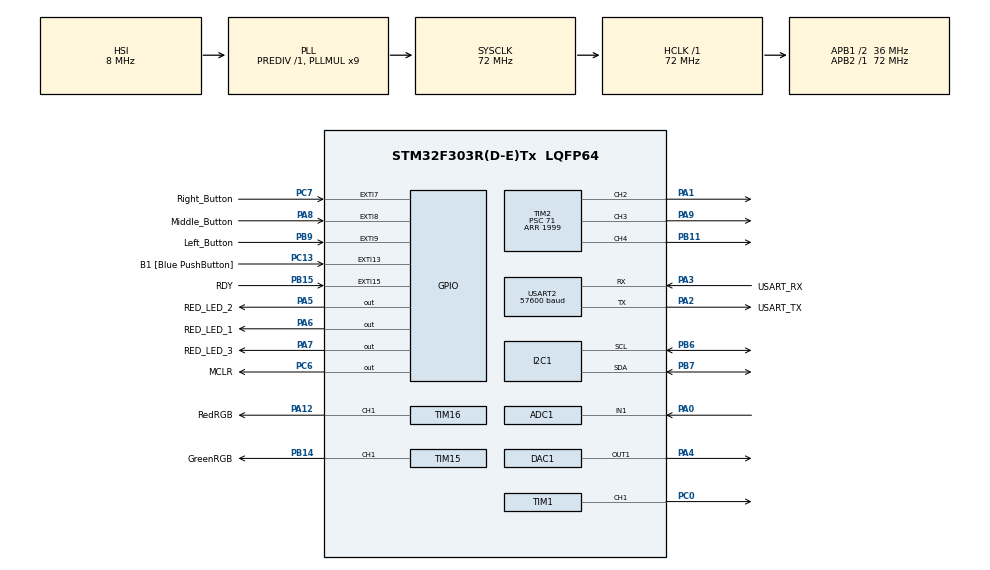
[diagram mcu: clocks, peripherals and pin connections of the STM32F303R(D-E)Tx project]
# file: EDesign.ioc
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ADC1.Channel-0\#ChannelRegularConversion=ADC_CHANNEL_1
ADC1.NbrOfConversionFlag=1
ADC1.Offset-0\#ChannelRegularConversion=0
ADC1.OffsetNumber-0\#ChannelRegularConversion=ADC_OFFSET_NONE
ADC1.Rank-0\#ChannelRegularConversion=1
ADC1.SamplingTime-0\#ChannelRegularConversion=ADC_SAMPLETIME_1CYCLE_5
ADC1.SamplingTimeOPAMP-0\#ChannelRegularConversion=ADC_SAMPLETIME_61CYCLES_5
ADC1.master=1
I2C1.Speed=10
I2C1.Timing=0x200009FE
Mcu.Family=STM32F3
Mcu.Name=STM32F303R(D-E)Tx
Mcu.Package=LQFP64
NVIC.EXTI15_10_IRQn=true\:0\:0\:false\:false\:true\:true\:true\:true
NVIC.EXTI9_5_IRQn=true\:0\:0\:false\:false\:true\:true\:true\:true
NVIC.PriorityGroup=NVIC_PRIORITYGROUP_0
NVIC.USART2_IRQn=true\:0\:0\:false\:false\:true\:true\:true\:true
PA0.Mode=IN1-Single-Ended
PA0.Signal=ADC1_IN1
PA1.Signal=S_TIM2_CH2
PA12.GPIO_Label=RedRGB
PA12.Signal=S_TIM16_CH1
PA13.GPIO_Label=TMS
PA13.Mode=Serial_Wire
PA13.Signal=SYS_JTMS-SWDIO
PA14.GPIO_Label=TCK
PA14.Mode=Serial_Wire
PA14.Signal=SYS_JTCK-SWCLK
PA2.GPIO_Label=USART_TX
PA2.GPIO_Mode=GPIO_MODE_AF_PP
PA2.GPIO_PuPd=GPIO_NOPULL
PA2.GPIO_Speed=GPIO_SPEED_FREQ_LOW
PA2.Mode=Asynchronous
PA2.Signal=USART2_TX
PA3.GPIO_Label=USART_RX
PA3.GPIO_Mode=GPIO_MODE_AF_PP
PA3.GPIO_PuPd=GPIO_NOPULL
PA3.GPIO_Speed=GPIO_SPEED_FREQ_LOW
PA3.Mode=Asynchronous
PA3.Signal=USART2_RX
PA4.Signal=COMP_DAC11_group
PA5.GPIO_Label=RED_LED_2
PA5.Signal=GPIO_Output
PA6.GPIO_Label=RED_LED_1
PA6.Signal=GPIO_Output
PA7.GPIO_Label=RED_LED_3
PA7.Signal=GPIO_Output
PA8.GPIO_Label=Middle_Button
PA8.GPIO_ModeDefaultEXTI=GPIO_MODE_IT_RISING_FALLING
PA8.GPIO_PuPd=GPIO_PULLUP
PA8.Signal=GPXTI8
PA9.Signal=S_TIM2_CH3
PB11.Signal=S_TIM2_CH4
PB14.GPIO_Label=GreenRGB
PB14.Signal=S_TIM15_CH1
PB15.GPIO_Label=RDY
PB15.GPIO_ModeDefaultEXTI=GPIO_MODE_IT_FALLING
PB15.Signal=GPXTI15
PB3.GPIO_Label=SWO
PB3.Signal=SYS_JTDO-TRACESWO
PB6.Mode=I2C
PB6.Signal=I2C1_SCL
PB7.Mode=I2C
PB7.Signal=I2C1_SDA
PB9.GPIO_Label=Left_Button
PB9.GPIO_ModeDefaultEXTI=GPIO_MODE_IT_RISING_FALLING
PB9.GPIO_PuPd=GPIO_PULLUP
PB9.Signal=GPXTI9
PC0.Signal=S_TIM1_CH1
PC13.GPIO_Label=B1 [Blue PushButton]
PC13.GPIO_ModeDefaultEXTI=GPIO_MODE_IT_FALLING
PC13.Signal=GPXTI13
PC14-OSC32_IN.Mode=LSE-External-Oscillator
PC14-OSC32_IN.Signal=RCC_OSC32_IN
PC15-OSC32_OUT.Mode=LSE-External-Oscillator
PC15-OSC32_OUT.Signal=RCC_OSC32_OUT
PC6.GPIO_Label=MCLR
PC6.Signal=GPIO_Output
PC7.GPIO_Label=Right_Button
PC7.GPIO_ModeDefaultEXTI=GPIO_MODE_IT_RISING_FALLING
PC7.GPIO_PuPd=GPIO_PULLUP
PC7.Signal=GPXTI7
PF0-OSC_IN.Mode=HSE-External-Clock-Source
PF0-OSC_IN.Signal=RCC_OSC_IN
PF1-OSC_OUT.Signal=RCC_OSC_OUT
ProjectManager.HeapSize=0x200
ProjectManager.StackSize=0x400
ProjectManager.TargetToolchain=STM32CubeIDE
RCC.AHBFreq_Value=72000000
RCC.APB1CLKDivider=RCC_HCLK_DIV2
RCC.APB1Freq_Value=36000000
RCC.APB1TimFreq_Value=72000000
RCC.APB2Freq_Value=72000000
RCC.APB2TimFreq_Value=72000000
RCC.CortexFreq_Value=72000000
RCC.HCLKFreq_Value=72000000
RCC.HSE_VALUE=8000000
RCC.HSI_VALUE=8000000
RCC.PLLM=8
RCC.PLLMUL=RCC_PLL_MUL9
RCC.PLLN=336
RCC.PLLP=RCC_PLLP_DIV4
RCC.PLLQ=7
RCC.RCC_PLLsource_Clock_Source_FROM_HSE=RCC_HSE_PREDIV_DIV2
RCC.SYSCLKFreq_VALUE=72000000
RCC.SYSCLKSourceVirtual=RCC_SYSCLKSOURCE_PLLCLK
RCC.USBFreq_Value=72000000
SH.COMP_DAC11_group.0=DAC1_OUT1,DAC_OUT1
SH.S_TIM15_CH1.0=TIM15_CH1,PWM Generation1 CH1
SH.S_TIM16_CH1.0=TIM16_CH1,PWM Generation1 CH1
SH.S_TIM1_CH1.0=TIM1_CH1,PWM Generation1 CH1
SH.S_TIM2_CH2.0=TIM2_CH2,PWM Generation2 CH2
SH.S_TIM2_CH3.0=TIM2_CH3,PWM Generation3 CH3
SH.S_TIM2_CH4.0=TIM2_CH4,PWM Generation4 CH4
TIM1.Channel-PWM\ Generation1\ CH1=TIM_CHANNEL_1
TIM1.Period=1999
TIM1.Prescaler=71
TIM15.Channel-PWM\ Generation1\ CH1=TIM_CHANNEL_1
TIM15.Period=1999
TIM15.Prescaler=71
TIM16.Channel=TIM_CHANNEL_1
TIM16.Period=1999
TIM16.Prescaler=71
TIM2.Channel-PWM\ Generation2\ CH2=TIM_CHANNEL_2
TIM2.Channel-PWM\ Generation3\ CH3=TIM_CHANNEL_3
TIM2.Channel-PWM\ Generation4\ CH4=TIM_CHANNEL_4
TIM2.Period=1999
TIM2.Prescaler=71
USART2.BaudRate=57600
USART2.Parity=PARITY_EVEN
USART2.StopBits=STOPBITS_2
USART2.VirtualMode-Asynchronous=VM_ASYNC
USART2.WordLength=WORDLENGTH_9B
VP_TIM15_VS_ClockSourceINT.Mode=Internal
VP_TIM16_VS_ClockSourceINT.Mode=Enable_Timer
VP_TIM2_VS_ClockSourceINT.Mode=Internal
VP_TIM4_VS_ClockSourceINT.Mode=Internal
board=NUCLEO-F303RE

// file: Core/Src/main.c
/* USER CODE BEGIN Header */
/**
  ******************************************************************************
  * @file           : main.c
  * @brief          : Main program body
  ******************************************************************************
  * @attention
  *
  * <h2><center>&copy; Copyright (c) 2023 STMicroelectronics.
  * All rights reserved.</center></h2>
  *
  * This software component is licensed by ST under BSD 3-Clause license,
  * the "License"; You may not use this file except in compliance with the
  * License. You may obtain a copy of the License at:
  *                        opensource.org/licenses/BSD-3-Clause
  *
  ******************************************************************************
  */

/**
 * THIS CODE UP TO DEMO 3 WAS TAKEN FROM WIAN VAN WYK
 */

/* USER CODE END Header */
#include "main.h"

/* USER CODE BEGIN Includes */
#include "common.h"
#include "mode_flashing.h"
#include "mode_mood.h"
#include "mode_emergency.h"
#include "IQS7211AC.h"

/* USER CODE END Includes */

/* USER CODE BEGIN PD */

#define RX_BUF_SIZE 30
#define ADC_SAMPLES 12
#define ADC_THRESHOLD 20
/* USER CODE END PD */

ADC_HandleTypeDef hadc1;

DAC_HandleTypeDef hdac1;

I2C_HandleTypeDef hi2c1;

TIM_HandleTypeDef htim1;
TIM_HandleTypeDef htim2;
TIM_HandleTypeDef htim4;
TIM_HandleTypeDef htim15;
TIM_HandleTypeDef htim16;

UART_HandleTypeDef huart2;

void SystemClock_Config(void);
static void MX_GPIO_Init(void);
static void MX_USART2_UART_Init(void);
static void MX_ADC1_Init(void);
static void MX_DAC1_Init(void);
static void MX_TIM2_Init(void);
static void MX_I2C1_Init(void);
static void MX_TIM1_Init(void);
static void MX_TIM15_Init(void);
static void MX_TIM16_Init(void);
static void MX_TIM4_Init(void);

/* USER CODE BEGIN 0 */
struct buttons
	{
	uint8_t button_state_change;
	uint32_t press_tick;
	uint8_t new_button_state;
	uint8_t button_state;
	uint16_t gpio;
	GPIO_TypeDef* group;
	};

typedef enum States
  {
  	STATE1,	//mf
  	STATE2,	//mm
  	STATE3,	//me
  	STATE_MAX

  } STATE;

typedef struct StateFuncs_
    {
     void(*handleOnEnterEvt)();
     void(*handleOnExitEvt)();
     void(*handleOnButtonEvt)(uint8_t button, uint8_t buttonState);
     void(*handleOnInit)();
     void(*handleSetConfig)(uint8_t *config);
     void(*handleGetConfig)(uint8_t *status);
     void(*handleSliderVal)(uint32_t value);
     void(*handleHousekeep)();
     void(*handleApplySetting)();
     void(*handleSetIntensity)();
     void(*handleOnHold)();
     void(*handleOnEnterUart)();
     void(*handleOnSlide)(uint16_t currentXCoord);
     void(*handleOnTap)(uint16_t tapX, uint16_t tapY);

    } StateFuncs;

static StateFuncs stateCallback[STATE_MAX] =
     {
          {
          .handleOnEnterEvt = &STATE1_OnEnter,
          .handleOnExitEvt = &STATE1_OnExit,
		  .handleSetConfig = &STATE1_SetConfig,
		  .handleGetConfig = &STATE1_GetConfig,
		  .handleOnInit = &STATE1_OnInit,
		  .handleOnButtonEvt = &STATE1_OnButtonEvt,
		  .handleSliderVal = &STATE1_SliderVal,
		  .handleHousekeep = &STATE1_Housekeep,
		  .handleApplySetting = &STATE1_ApplySettings,
		  .handleSetIntensity = &STATE1_SetIntensity,
		  .handleOnHold = &STATE1_OnHold,
		  .handleOnTap = &STATE1_OnTap,
		  .handleOnSlide = &STATE1_OnSlide,
		  .handleOnEnterUart = &STATE1_OnEnterUart,
          },
		  {
		  .handleOnEnterEvt = &STATE2_OnEnter,
		  .handleOnExitEvt = &STATE2_OnExit,
		  .handleSetConfig = &STATE2_SetConfig,
		  .handleGetConfig = &STATE2_GetConfig,
		  .handleOnInit = &STATE2_OnInit,
		  .handleOnButtonEvt = &STATE2_OnButtonEvt,
	  	  .handleSliderVal = &STATE2_SliderVal,
		  .handleHousekeep = &STATE2_Housekeep,
		  .handleApplySetting = &STATE2_ApplySettings,
		  .handleSetIntensity = &STATE2_SetIntensity,
		  .handleOnHold = &STATE2_OnHold,
		  .handleOnTap = &STATE2_OnTap,
		  .handleOnSlide = &STATE2_OnSlide,
		  .handleOnEnterUart = &STATE2_OnEnterUart,

		  },
		  {
		  .handleOnEnterEvt = &STATE3_OnEnter,
		  .handleOnExitEvt = &STATE3_OnExit,
		  .handleSetConfig = &STATE3_SetConfig,
		  .handleGetConfig = &STATE3_GetConfig,
		  .handleOnInit = &STATE3_OnInit,
		  .handleOnButtonEvt = &STATE3_OnButtonEvt,
	  	  .handleSliderVal = &STATE3_SliderVal,
		  .handleHousekeep = &STATE3_Housekeep,
		  .handleApplySetting = &STATE3_ApplySettings,
		  .handleSetIntensity = &STATE3_SetIntensity,
		  .handleOnHold = &STATE3_OnHold,
		  .handleOnTap = &STATE3_OnTap,
		  .handleOnSlide = &STATE3_OnSlide,
		  .handleOnEnterUart = &STATE3_OnEnterUart,

		  }
         };

struct buttons LEFT, MIDDLE, RIGHT;

struct buttons btns[NUM_BTN];

uint8_t rxBuffer[RX_BUF_SIZE] = {0};
uint8_t rxIndex = 0;
uint8_t recievedUartMessage = 0;	//if the uart rx buffer has a valid message
uint8_t rxMessageLength = 0;

uint8_t txBuffer[RX_BUF_SIZE] = {0};

// slider var
uint32_t adcSum;
uint32_t adcNumSamples;
uint32_t adcPreviousAvg;
uint32_t adcAvg;

// rdy flag
volatile uint8_t RDY = 1;

volatile uint8_t hs = 0;
uint16_t prevX = 0;
uint16_t newX = 0;

uint16_t xCounter = 0;
uint32_t nowTick = 0;				//added volatile
volatile uint16_t trackpadIntensity = 0;
volatile uint32_t myStartTick = 0;
uint16_t holdDetected = 0;			//added volatile
volatile uint16_t slideDetected = 0;			//added variable

volatile uint16_t tapX = 0;
volatile uint16_t tapY = 0;
volatile uint8_t tapRegistered = 0;
uint32_t tickAtStart = 0;

/* USER CODE END 0 */

int main(void)
{

  /* MCU Configuration--------------------------------------------------------*/

  /* Reset of all peripherals, Initializes the Flash interface and the Systick. */
  HAL_Init();

  /* Configure the system clock */
  SystemClock_Config();

  /* USER CODE BEGIN SysInit */
  tickAtStart = HAL_GetTick();
  /* USER CODE END SysInit */

  /* Initialize all configured peripherals */
  MX_GPIO_Init();
  MX_USART2_UART_Init();
  MX_ADC1_Init();
  MX_DAC1_Init();
  MX_TIM2_Init();
  MX_I2C1_Init();
  MX_TIM1_Init();
  MX_TIM15_Init();
  MX_TIM16_Init();
  MX_TIM4_Init();
  /* USER CODE BEGIN 2 */
  uint8_t studentNumber[] = "#:25137018:$\n";
  uint8_t message[] = "button pressed \n";
  uint8_t stdMessageSize[] = "#:MM:512:000:000:$\n"; //19

//first adc sample set
  uint8_t adcStart = 1;

  //I2C buffers

  //ADD WAIT FOR UART TRANSMIT
  while(HAL_GetTick() - tickAtStart < 100){

  }
  uint32_t tickNow = HAL_GetTick();
  HAL_UART_Transmit(&huart2, studentNumber, 13, 500);

  btns[BTN_LEFT].button_state = HAL_GPIO_ReadPin(GPIOB, GPIO_PIN_9);
  btns[BTN_LEFT].new_button_state = btns[BTN_LEFT].button_state;
  btns[BTN_LEFT].gpio = GPIO_PIN_9;
  btns[BTN_LEFT].group = GPIOB;
  btns[BTN_LEFT].press_tick = 0;

  btns[BTN_RIGHT].button_state = HAL_GPIO_ReadPin(GPIOC, GPIO_PIN_7);
  btns[BTN_RIGHT].new_button_state = btns[BTN_RIGHT].button_state;
  btns[BTN_RIGHT].gpio = GPIO_PIN_7;
  btns[BTN_RIGHT].group = GPIOC;
  btns[BTN_RIGHT].press_tick = 0;

  btns[BTN_MIDDLE].button_state = HAL_GPIO_ReadPin(GPIOA, GPIO_PIN_8);
  btns[BTN_MIDDLE].new_button_state = btns[BTN_MIDDLE].button_state;
  btns[BTN_MIDDLE].gpio = GPIO_PIN_8;
  btns[BTN_MIDDLE].group = GPIOA;
  btns[BTN_MIDDLE].press_tick = 0;

  //ADD STATE INIT FOR ALL STATES

  STATE currentState = STATE1;
  STATE newState = STATE_MAX;
  STATE targetedState = STATE_MAX;
  int s = 0;
  for(s = 0; s < STATE_MAX; s++)
  	  {
	  stateCallback[s].handleOnInit();
  	  }

  stateCallback[STATE1].handleOnEnterEvt();

  //Code for byte recieve
  HAL_UART_Receive_IT(&huart2, rxBuffer, 1);

  //adc calibration
  HAL_ADCEx_Calibration_Start(&hadc1, ADC_SINGLE_ENDED);

  HAL_DAC_Start(&hdac1, DAC_CHANNEL_1);

  initTrackpad();

  HAL_TIM_PWM_Start(&htim15, TIM_CHANNEL_1);

  HAL_TIM_PWM_Start(&htim16, TIM_CHANNEL_1);

  HAL_TIM_PWM_Start(&htim2, TIM_CHANNEL_4);

  char message2[] = "SLIDE\n";
  char messageIntSetTo[] = "INTENSITYSET";
  char message3[] = "";
  uint8_t gestureData[10];
  slideDetected = 0;

  GESTURETYPE currentGesture = GEST_NONE;
  GESTURETYPE readGesture = GEST_NONE;
  uint16_t currentXCoord = 0;
  uint16_t currentYCoord = 0;
  uint32_t trackInitTime = 0;
  /* USER CODE END 2 */

  /* Infinite loop */
  /* USER CODE BEGIN WHILE */
  while (1)
  {

	  if (RDY == 1)
	  {

		  readGestureData(gestureData);
		  if (HAL_GetTick()- tickAtStart > 5000)
		  {

			  processGestureData(gestureData);
			  readGesture = getGestureType();
			  getGestureCoordinates(&currentXCoord, &currentYCoord);
			  if(readGesture != currentGesture){
				  currentGesture = readGesture;
				  if(currentGesture == GEST_TAP)
				  {
					  stateCallback[currentState].handleOnTap(currentXCoord, currentYCoord);
				  } else if (currentGesture == GEST_HOLD)
				  {
					  stateCallback[currentState].handleOnHold();

				  }
			  }
			  if (currentGesture == GEST_SLIDE){

					 stateCallback[currentState].handleOnSlide(currentXCoord);

				  }
		  }
	  	  RDY = 0;

	  	}

	  //adc
	  HAL_ADC_Start(&hadc1);
	  HAL_ADC_PollForConversion(&hadc1, 1);
	  uint32_t adcVal = HAL_ADC_GetValue(&hadc1);
	  // if sample >= 12 && average changed with certain amount then read slider value to current status handle slider

	  //scaling
	  adcVal = (adcVal/INPUT_MAX)*OUTPUT_MAX;

	  adcSum = adcSum +adcVal;
	  adcNumSamples++;

	  if(adcNumSamples == ADC_SAMPLES){
		  adcAvg = adcSum/ADC_SAMPLES;
		  if(adcAvg > 480){
			  adcAvg = 512;
		  }
		  if(adcAvg <= 18)
		  {
			  adcAvg = 1;
		  }
		  adcNumSamples = 0;
		  if((adcAvg > adcPreviousAvg && adcAvg - adcPreviousAvg > ADC_THRESHOLD) || (adcAvg < adcPreviousAvg && adcPreviousAvg - adcAvg > ADC_THRESHOLD))
		  {
			  if(adcStart != 1)
			  {

			  stateCallback[currentState].handleSliderVal(adcAvg);

			  if(currentState == STATE1 || currentState == STATE3)
			  {
				  stateCallback[currentState].handleGetConfig(txBuffer);
				  //HAL_UART_Transmit(&huart2, txBuffer, 19, 500);
			  }

			  }
			  adcPreviousAvg = adcAvg;
			  adcStart = 0;

		  }
		  adcSum = 0;
	  }

	  //Button code
	  	  int j;
	  	  for (j = 0; j < NUM_BTN; j++) {
	  		if(HAL_GetTick() - btns[j].press_tick > 50 && btns[j].button_state_change == 1)
	  			  	{
	  					btns[j].new_button_state = HAL_GPIO_ReadPin(btns[j].group, btns[j].gpio);
	  					btns[j].button_state_change = 0;									//button isn't changing anymore
	  			  	}

	  		if(btns[j].new_button_state != btns[j].button_state){
	  			  if(btns[j].new_button_state == BTN_STATE_PRESSED)
	  			  {
	  				  if(btns[BTN_LEFT].new_button_state == BTN_STATE_PRESSED)
	  				  {
	  					stateCallback[currentState].handleOnExitEvt();
	  					  //HAL_UART_Transmit(&huart2, message, 16, 1000);
	  					  	  if(currentState == STATE1)
	  					  		{

	  					  			newState = STATE3;

	  					  		}
	  					  		if(currentState == STATE2)
	  					  		{

	  					  			newState = STATE1;

	  					  		}
	  					  		if(currentState == STATE3)
	  					  		{

	  					  			newState = STATE2;

	  					  		}
	  					  		currentState = newState;
	  					  		stateCallback[currentState].handleOnEnterEvt();

	  				  }
	  				  else {
	  					stateCallback[currentState].handleOnButtonEvt(j, BTN_STATE_PRESSED);

	  				  }

	  			  }
	  			  btns[j].button_state = btns[j].new_button_state;
	  			  }
	  	  	 }

	  	  //test

	  	  if(recievedUartMessage == 1){
	  		targetedState = STATE_MAX;

	  		  if(rxMessageLength == 19 || rxMessageLength == 7){
	  			  // Flasing state
	  			  if(rxBuffer[2] == 'M' && rxBuffer[3] == 'F'){
	  				  targetedState = STATE1;

	  			}
	  			  else if(rxBuffer[2] == 'M' && rxBuffer[3] == 'M'){
	  				targetedState = STATE2;

	  			}
	  			else if(rxBuffer[2] == 'M' && rxBuffer[3] == 'E'){
	  				targetedState = STATE3;

	  			}

	  			  //if there was a valid state entered
	  			if(targetedState != STATE_MAX)
	  			{
	  				if(rxMessageLength == 19)
	  				{

	  					if(targetedState != currentState)
	  					{
	  						stateCallback[currentState].handleOnExitEvt();
	  						currentState = targetedState;
	  						stateCallback[currentState].handleOnEnterEvt();
	  					}

						stateCallback[targetedState].handleSetConfig(rxBuffer);
	  					stateCallback[currentState].handleGetConfig(txBuffer);
	  					HAL_UART_Transmit(&huart2, txBuffer, 19, 500);
	  				}
	  				else if(rxMessageLength == 7)
	  				{
	  					stateCallback[targetedState].handleGetConfig(txBuffer);
	  					HAL_UART_Transmit(&huart2, txBuffer, 19, 500);
	  				}

	  			}

	  		  }

	  		recievedUartMessage = 0;
	  		rxMessageLength = 0;
	  	  }

	  	  stateCallback[currentState].handleHousekeep();

    /* USER CODE END WHILE */

  }
}

void SystemClock_Config(void)
{
  RCC_OscInitTypeDef RCC_OscInitStruct = {0};
  RCC_ClkInitTypeDef RCC_ClkInitStruct = {0};
  RCC_PeriphCLKInitTypeDef PeriphClkInit = {0};

  /** Initializes the RCC Oscillators according to the specified parameters
  * in the RCC_OscInitTypeDef structure.
  */
  RCC_OscInitStruct.OscillatorType = RCC_OSCILLATORTYPE_HSI;
  RCC_OscInitStruct.HSIState = RCC_HSI_ON;
  RCC_OscInitStruct.HSICalibrationValue = RCC_HSICALIBRATION_DEFAULT;
  RCC_OscInitStruct.PLL.PLLState = RCC_PLL_ON;
  RCC_OscInitStruct.PLL.PLLSource = RCC_PLLSOURCE_HSI;
  RCC_OscInitStruct.PLL.PLLMUL = RCC_PLL_MUL9;
  RCC_OscInitStruct.PLL.PREDIV = RCC_PREDIV_DIV1;
  if (HAL_RCC_OscConfig(&RCC_OscInitStruct) != HAL_OK)
  {
    Error_Handler();
  }

  /** Initializes the CPU, AHB and APB buses clocks
  */
  RCC_ClkInitStruct.ClockType = RCC_CLOCKTYPE_HCLK|RCC_CLOCKTYPE_SYSCLK
                              |RCC_CLOCKTYPE_PCLK1|RCC_CLOCKTYPE_PCLK2;
  RCC_ClkInitStruct.SYSCLKSource = RCC_SYSCLKSOURCE_PLLCLK;
  RCC_ClkInitStruct.AHBCLKDivider = RCC_SYSCLK_DIV1;
  RCC_ClkInitStruct.APB1CLKDivider = RCC_HCLK_DIV2;
  RCC_ClkInitStruct.APB2CLKDivider = RCC_HCLK_DIV1;

  if (HAL_RCC_ClockConfig(&RCC_ClkInitStruct, FLASH_LATENCY_2) != HAL_OK)
  {
    Error_Handler();
  }
  PeriphClkInit.PeriphClockSelection = RCC_PERIPHCLK_USART2|RCC_PERIPHCLK_I2C1
                              |RCC_PERIPHCLK_TIM1|RCC_PERIPHCLK_TIM15
                              |RCC_PERIPHCLK_TIM16|RCC_PERIPHCLK_ADC12
                              |RCC_PERIPHCLK_TIM2|RCC_PERIPHCLK_TIM34;
  PeriphClkInit.Usart2ClockSelection = RCC_USART2CLKSOURCE_PCLK1;
  PeriphClkInit.Adc12ClockSelection = RCC_ADC12PLLCLK_DIV1;
  PeriphClkInit.I2c1ClockSelection = RCC_I2C1CLKSOURCE_HSI;
  PeriphClkInit.Tim1ClockSelection = RCC_TIM1CLK_HCLK;
  PeriphClkInit.Tim15ClockSelection = RCC_TIM15CLK_HCLK;
  PeriphClkInit.Tim16ClockSelection = RCC_TIM16CLK_HCLK;
  PeriphClkInit.Tim2ClockSelection = RCC_TIM2CLK_HCLK;
  PeriphClkInit.Tim34ClockSelection = RCC_TIM34CLK_HCLK;
  if (HAL_RCCEx_PeriphCLKConfig(&PeriphClkInit) != HAL_OK)
  {
    Error_Handler();
  }
}

static void MX_ADC1_Init(void)
{

  ADC_MultiModeTypeDef multimode = {0};
  ADC_ChannelConfTypeDef sConfig = {0};

  /** Common config
  */
  hadc1.Instance = ADC1;
  hadc1.Init.ClockPrescaler = ADC_CLOCK_ASYNC_DIV1;
  hadc1.Init.Resolution = ADC_RESOLUTION_12B;
  hadc1.Init.ScanConvMode = ADC_SCAN_DISABLE;
  hadc1.Init.ContinuousConvMode = DISABLE;
  hadc1.Init.DiscontinuousConvMode = DISABLE;
  hadc1.Init.ExternalTrigConvEdge = ADC_EXTERNALTRIGCONVEDGE_NONE;
  hadc1.Init.ExternalTrigConv = ADC_SOFTWARE_START;
  hadc1.Init.DataAlign = ADC_DATAALIGN_RIGHT;
  hadc1.Init.NbrOfConversion = 1;
  hadc1.Init.DMAContinuousRequests = DISABLE;
  hadc1.Init.EOCSelection = ADC_EOC_SINGLE_CONV;
  hadc1.Init.LowPowerAutoWait = DISABLE;
  hadc1.Init.Overrun = ADC_OVR_DATA_OVERWRITTEN;
  if (HAL_ADC_Init(&hadc1) != HAL_OK)
  {
    Error_Handler();
  }

  /** Configure the ADC multi-mode
  */
  multimode.Mode = ADC_MODE_INDEPENDENT;
  if (HAL_ADCEx_MultiModeConfigChannel(&hadc1, &multimode) != HAL_OK)
  {
    Error_Handler();
  }

  /** Configure Regular Channel
  */
  sConfig.Channel = ADC_CHANNEL_1;
  sConfig.Rank = ADC_REGULAR_RANK_1;
  sConfig.SingleDiff = ADC_SINGLE_ENDED;
  sConfig.SamplingTime = ADC_SAMPLETIME_1CYCLE_5;
  sConfig.OffsetNumber = ADC_OFFSET_NONE;
  sConfig.Offset = 0;
  if (HAL_ADC_ConfigChannel(&hadc1, &sConfig) != HAL_OK)
  {
    Error_Handler();
  }

}

static void MX_DAC1_Init(void)
{

  DAC_ChannelConfTypeDef sConfig = {0};

  /** DAC Initialization
  */
  hdac1.Instance = DAC1;
  if (HAL_DAC_Init(&hdac1) != HAL_OK)
  {
    Error_Handler();
  }

  /** DAC channel OUT1 config
  */
  sConfig.DAC_Trigger = DAC_TRIGGER_NONE;
  sConfig.DAC_OutputBuffer = DAC_OUTPUTBUFFER_ENABLE;
  if (HAL_DAC_ConfigChannel(&hdac1, &sConfig, DAC_CHANNEL_1) != HAL_OK)
  {
    Error_Handler();
  }

}

static void MX_I2C1_Init(void)
{

  hi2c1.Instance = I2C1;
  hi2c1.Init.Timing = 0x200009FE;
  hi2c1.Init.OwnAddress1 = 0;
  hi2c1.Init.AddressingMode = I2C_ADDRESSINGMODE_7BIT;
  hi2c1.Init.DualAddressMode = I2C_DUALADDRESS_DISABLE;
  hi2c1.Init.OwnAddress2 = 0;
  hi2c1.Init.OwnAddress2Masks = I2C_OA2_NOMASK;
  hi2c1.Init.GeneralCallMode = I2C_GENERALCALL_DISABLE;
  hi2c1.Init.NoStretchMode = I2C_NOSTRETCH_DISABLE;
  if (HAL_I2C_Init(&hi2c1) != HAL_OK)
  {
    Error_Handler();
  }

  /** Configure Analogue filter
  */
  if (HAL_I2CEx_ConfigAnalogFilter(&hi2c1, I2C_ANALOGFILTER_ENABLE) != HAL_OK)
  {
    Error_Handler();
  }

  /** Configure Digital filter
  */
  if (HAL_I2CEx_ConfigDigitalFilter(&hi2c1, 0) != HAL_OK)
  {
    Error_Handler();
  }

}

static void MX_TIM1_Init(void)
{

  TIM_MasterConfigTypeDef sMasterConfig = {0};
  TIM_OC_InitTypeDef sConfigOC = {0};
  TIM_BreakDeadTimeConfigTypeDef sBreakDeadTimeConfig = {0};

  htim1.Instance = TIM1;
  htim1.Init.Prescaler = 71;
  htim1.Init.CounterMode = TIM_COUNTERMODE_UP;
  htim1.Init.Period = 1999;
  htim1.Init.ClockDivision = TIM_CLOCKDIVISION_DIV1;
  htim1.Init.RepetitionCounter = 0;
  htim1.Init.AutoReloadPreload = TIM_AUTORELOAD_PRELOAD_DISABLE;
  if (HAL_TIM_PWM_Init(&htim1) != HAL_OK)
  {
    Error_Handler();
  }
  sMasterConfig.MasterOutputTrigger = TIM_TRGO_RESET;
  sMasterConfig.MasterOutputTrigger2 = TIM_TRGO2_RESET;
  sMasterConfig.MasterSlaveMode = TIM_MASTERSLAVEMODE_DISABLE;
  if (HAL_TIMEx_MasterConfigSynchronization(&htim1, &sMasterConfig) != HAL_OK)
  {
    Error_Handler();
  }
  sConfigOC.OCMode = TIM_OCMODE_PWM1;
  sConfigOC.Pulse = 0;
  sConfigOC.OCPolarity = TIM_OCPOLARITY_HIGH;
  sConfigOC.OCNPolarity = TIM_OCNPOLARITY_HIGH;
  sConfigOC.OCFastMode = TIM_OCFAST_DISABLE;
  sConfigOC.OCIdleState = TIM_OCIDLESTATE_RESET;
  sConfigOC.OCNIdleState = TIM_OCNIDLESTATE_RESET;
  if (HAL_TIM_PWM_ConfigChannel(&htim1, &sConfigOC, TIM_CHANNEL_1) != HAL_OK)
  {
    Error_Handler();
  }
  sBreakDeadTimeConfig.OffStateRunMode = TIM_OSSR_DISABLE;
  sBreakDeadTimeConfig.OffStateIDLEMode = TIM_OSSI_DISABLE;
  sBreakDeadTimeConfig.LockLevel = TIM_LOCKLEVEL_OFF;
  sBreakDeadTimeConfig.DeadTime = 0;
  sBreakDeadTimeConfig.BreakState = TIM_BREAK_DISABLE;
  sBreakDeadTimeConfig.BreakPolarity = TIM_BREAKPOLARITY_HIGH;
  sBreakDeadTimeConfig.BreakFilter = 0;
  sBreakDeadTimeConfig.Break2State = TIM_BREAK2_DISABLE;
  sBreakDeadTimeConfig.Break2Polarity = TIM_BREAK2POLARITY_HIGH;
  sBreakDeadTimeConfig.Break2Filter = 0;
  sBreakDeadTimeConfig.AutomaticOutput = TIM_AUTOMATICOUTPUT_DISABLE;
  if (HAL_TIMEx_ConfigBreakDeadTime(&htim1, &sBreakDeadTimeConfig) != HAL_OK)
  {
    Error_Handler();
  }
  HAL_TIM_MspPostInit(&htim1);

}

static void MX_TIM2_Init(void)
{

  TIM_ClockConfigTypeDef sClockSourceConfig = {0};
  TIM_MasterConfigTypeDef sMasterConfig = {0};
  TIM_OC_InitTypeDef sConfigOC = {0};

  htim2.Instance = TIM2;
  htim2.Init.Prescaler = 71;
  htim2.Init.CounterMode = TIM_COUNTERMODE_UP;
  htim2.Init.Period = 1999;
  htim2.Init.ClockDivision = TIM_CLOCKDIVISION_DIV1;
  htim2.Init.AutoReloadPreload = TIM_AUTORELOAD_PRELOAD_DISABLE;
  if (HAL_TIM_Base_Init(&htim2) != HAL_OK)
  {
    Error_Handler();
  }
  sClockSourceConfig.ClockSource = TIM_CLOCKSOURCE_INTERNAL;
  if (HAL_TIM_ConfigClockSource(&htim2, &sClockSourceConfig) != HAL_OK)
  {
    Error_Handler();
  }
  if (HAL_TIM_PWM_Init(&htim2) != HAL_OK)
  {
    Error_Handler();
  }
  sMasterConfig.MasterOutputTrigger = TIM_TRGO_RESET;
  sMasterConfig.MasterSlaveMode = TIM_MASTERSLAVEMODE_DISABLE;
  if (HAL_TIMEx_MasterConfigSynchronization(&htim2, &sMasterConfig) != HAL_OK)
  {
    Error_Handler();
  }
  sConfigOC.OCMode = TIM_OCMODE_PWM1;
  sConfigOC.Pulse = 0;
  sConfigOC.OCPolarity = TIM_OCPOLARITY_HIGH;
  sConfigOC.OCFastMode = TIM_OCFAST_DISABLE;
  if (HAL_TIM_PWM_ConfigChannel(&htim2, &sConfigOC, TIM_CHANNEL_2) != HAL_OK)
  {
    Error_Handler();
  }
  if (HAL_TIM_PWM_ConfigChannel(&htim2, &sConfigOC, TIM_CHANNEL_3) != HAL_OK)
  {
    Error_Handler();
  }
  if (HAL_TIM_PWM_ConfigChannel(&htim2, &sConfigOC, TIM_CHANNEL_4) != HAL_OK)
  {
    Error_Handler();
  }
  HAL_TIM_MspPostInit(&htim2);

}

static void MX_TIM4_Init(void)
{

  TIM_ClockConfigTypeDef sClockSourceConfig = {0};
  TIM_MasterConfigTypeDef sMasterConfig = {0};

  htim4.Instance = TIM4;
  htim4.Init.Prescaler = 0;
  htim4.Init.CounterMode = TIM_COUNTERMODE_UP;
  htim4.Init.Period = 65535;
  htim4.Init.ClockDivision = TIM_CLOCKDIVISION_DIV1;
  htim4.Init.AutoReloadPreload = TIM_AUTORELOAD_PRELOAD_DISABLE;
  if (HAL_TIM_Base_Init(&htim4) != HAL_OK)
  {
    Error_Handler();
  }
  sClockSourceConfig.ClockSource = TIM_CLOCKSOURCE_INTERNAL;
  if (HAL_TIM_ConfigClockSource(&htim4, &sClockSourceConfig) != HAL_OK)
  {
    Error_Handler();
  }
  sMasterConfig.MasterOutputTrigger = TIM_TRGO_RESET;
  sMasterConfig.MasterSlaveMode = TIM_MASTERSLAVEMODE_DISABLE;
  if (HAL_TIMEx_MasterConfigSynchronization(&htim4, &sMasterConfig) != HAL_OK)
  {
    Error_Handler();
  }

}

static void MX_TIM15_Init(void)
{

  TIM_ClockConfigTypeDef sClockSourceConfig = {0};
  TIM_MasterConfigTypeDef sMasterConfig = {0};
  TIM_OC_InitTypeDef sConfigOC = {0};
  TIM_BreakDeadTimeConfigTypeDef sBreakDeadTimeConfig = {0};

  htim15.Instance = TIM15;
  htim15.Init.Prescaler = 71;
  htim15.Init.CounterMode = TIM_COUNTERMODE_UP;
  htim15.Init.Period = 1999;
  htim15.Init.ClockDivision = TIM_CLOCKDIVISION_DIV1;
  htim15.Init.RepetitionCounter = 0;
  htim15.Init.AutoReloadPreload = TIM_AUTORELOAD_PRELOAD_DISABLE;
  if (HAL_TIM_Base_Init(&htim15) != HAL_OK)
  {
    Error_Handler();
  }
  sClockSourceConfig.ClockSource = TIM_CLOCKSOURCE_INTERNAL;
  if (HAL_TIM_ConfigClockSource(&htim15, &sClockSourceConfig) != HAL_OK)
  {
    Error_Handler();
  }
  if (HAL_TIM_PWM_Init(&htim15) != HAL_OK)
  {
    Error_Handler();
  }
  sMasterConfig.MasterOutputTrigger = TIM_TRGO_RESET;
  sMasterConfig.MasterSlaveMode = TIM_MASTERSLAVEMODE_DISABLE;
  if (HAL_TIMEx_MasterConfigSynchronization(&htim15, &sMasterConfig) != HAL_OK)
  {
    Error_Handler();
  }
  sConfigOC.OCMode = TIM_OCMODE_PWM1;
  sConfigOC.Pulse = 0;
  sConfigOC.OCPolarity = TIM_OCPOLARITY_HIGH;
  sConfigOC.OCNPolarity = TIM_OCNPOLARITY_HIGH;
  sConfigOC.OCFastMode = TIM_OCFAST_DISABLE;
  sConfigOC.OCIdleState = TIM_OCIDLESTATE_RESET;
  sConfigOC.OCNIdleState = TIM_OCNIDLESTATE_RESET;
  if (HAL_TIM_PWM_ConfigChannel(&htim15, &sConfigOC, TIM_CHANNEL_1) != HAL_OK)
  {
    Error_Handler();
  }
  sBreakDeadTimeConfig.OffStateRunMode = TIM_OSSR_DISABLE;
  sBreakDeadTimeConfig.OffStateIDLEMode = TIM_OSSI_DISABLE;
  sBreakDeadTimeConfig.LockLevel = TIM_LOCKLEVEL_OFF;
  sBreakDeadTimeConfig.DeadTime = 0;
  sBreakDeadTimeConfig.BreakState = TIM_BREAK_DISABLE;
  sBreakDeadTimeConfig.BreakPolarity = TIM_BREAKPOLARITY_HIGH;
  sBreakDeadTimeConfig.BreakFilter = 0;
  sBreakDeadTimeConfig.AutomaticOutput = TIM_AUTOMATICOUTPUT_DISABLE;
  if (HAL_TIMEx_ConfigBreakDeadTime(&htim15, &sBreakDeadTimeConfig) != HAL_OK)
  {
    Error_Handler();
  }
  HAL_TIM_MspPostInit(&htim15);

}

static void MX_TIM16_Init(void)
{

  TIM_OC_InitTypeDef sConfigOC = {0};
  TIM_BreakDeadTimeConfigTypeDef sBreakDeadTimeConfig = {0};

  htim16.Instance = TIM16;
  htim16.Init.Prescaler = 71;
  htim16.Init.CounterMode = TIM_COUNTERMODE_UP;
  htim16.Init.Period = 1999;
  htim16.Init.ClockDivision = TIM_CLOCKDIVISION_DIV1;
  htim16.Init.RepetitionCounter = 0;
  htim16.Init.AutoReloadPreload = TIM_AUTORELOAD_PRELOAD_DISABLE;
  if (HAL_TIM_Base_Init(&htim16) != HAL_OK)
  {
    Error_Handler();
  }
  if (HAL_TIM_PWM_Init(&htim16) != HAL_OK)
  {
    Error_Handler();
  }
  sConfigOC.OCMode = TIM_OCMODE_PWM1;
  sConfigOC.Pulse = 0;
  sConfigOC.OCPolarity = TIM_OCPOLARITY_HIGH;
  sConfigOC.OCNPolarity = TIM_OCNPOLARITY_HIGH;
  sConfigOC.OCFastMode = TIM_OCFAST_DISABLE;
  sConfigOC.OCIdleState = TIM_OCIDLESTATE_RESET;
  sConfigOC.OCNIdleState = TIM_OCNIDLESTATE_RESET;
  if (HAL_TIM_PWM_ConfigChannel(&htim16, &sConfigOC, TIM_CHANNEL_1) != HAL_OK)
  {
    Error_Handler();
  }
  sBreakDeadTimeConfig.OffStateRunMode = TIM_OSSR_DISABLE;
  sBreakDeadTimeConfig.OffStateIDLEMode = TIM_OSSI_DISABLE;
  sBreakDeadTimeConfig.LockLevel = TIM_LOCKLEVEL_OFF;
  sBreakDeadTimeConfig.DeadTime = 0;
  sBreakDeadTimeConfig.BreakState = TIM_BREAK_DISABLE;
  sBreakDeadTimeConfig.BreakPolarity = TIM_BREAKPOLARITY_HIGH;
  sBreakDeadTimeConfig.BreakFilter = 0;
  sBreakDeadTimeConfig.AutomaticOutput = TIM_AUTOMATICOUTPUT_DISABLE;
  if (HAL_TIMEx_ConfigBreakDeadTime(&htim16, &sBreakDeadTimeConfig) != HAL_OK)
  {
    Error_Handler();
  }
  HAL_TIM_MspPostInit(&htim16);

}

static void MX_USART2_UART_Init(void)
{

  huart2.Instance = USART2;
  huart2.Init.BaudRate = 57600;
  huart2.Init.WordLength = UART_WORDLENGTH_9B;
  huart2.Init.StopBits = UART_STOPBITS_2;
  huart2.Init.Parity = UART_PARITY_EVEN;
  huart2.Init.Mode = UART_MODE_TX_RX;
  huart2.Init.HwFlowCtl = UART_HWCONTROL_NONE;
  huart2.Init.OverSampling = UART_OVERSAMPLING_16;
  huart2.Init.OneBitSampling = UART_ONE_BIT_SAMPLE_DISABLE;
  huart2.AdvancedInit.AdvFeatureInit = UART_ADVFEATURE_NO_INIT;
  if (HAL_UART_Init(&huart2) != HAL_OK)
  {
    Error_Handler();
  }

}

static void MX_GPIO_Init(void)
{
  GPIO_InitTypeDef GPIO_InitStruct = {0};

  /* GPIO Ports Clock Enable */
  __HAL_RCC_GPIOC_CLK_ENABLE();
  __HAL_RCC_GPIOF_CLK_ENABLE();
  __HAL_RCC_GPIOA_CLK_ENABLE();
  __HAL_RCC_GPIOB_CLK_ENABLE();

  /*Configure GPIO pin Output Level */
  HAL_GPIO_WritePin(GPIOA, RED_LED_2_Pin|RED_LED_1_Pin|RED_LED_3_Pin, GPIO_PIN_RESET);

  /*Configure GPIO pin Output Level */
  HAL_GPIO_WritePin(MCLR_GPIO_Port, MCLR_Pin, GPIO_PIN_RESET);

  /*Configure GPIO pin : B1_Pin */
  GPIO_InitStruct.Pin = B1_Pin;
  GPIO_InitStruct.Mode = GPIO_MODE_IT_FALLING;
  GPIO_InitStruct.Pull = GPIO_NOPULL;
  HAL_GPIO_Init(B1_GPIO_Port, &GPIO_InitStruct);

  /*Configure GPIO pins : RED_LED_2_Pin RED_LED_1_Pin RED_LED_3_Pin */
  GPIO_InitStruct.Pin = RED_LED_2_Pin|RED_LED_1_Pin|RED_LED_3_Pin;
  GPIO_InitStruct.Mode = GPIO_MODE_OUTPUT_PP;
  GPIO_InitStruct.Pull = GPIO_NOPULL;
  GPIO_InitStruct.Speed = GPIO_SPEED_FREQ_LOW;
  HAL_GPIO_Init(GPIOA, &GPIO_InitStruct);

  /*Configure GPIO pin : RDY_Pin */
  GPIO_InitStruct.Pin = RDY_Pin;
  GPIO_InitStruct.Mode = GPIO_MODE_IT_FALLING;
  GPIO_InitStruct.Pull = GPIO_NOPULL;
  HAL_GPIO_Init(RDY_GPIO_Port, &GPIO_InitStruct);

  /*Configure GPIO pin : MCLR_Pin */
  GPIO_InitStruct.Pin = MCLR_Pin;
  GPIO_InitStruct.Mode = GPIO_MODE_OUTPUT_PP;
  GPIO_InitStruct.Pull = GPIO_NOPULL;
  GPIO_InitStruct.Speed = GPIO_SPEED_FREQ_LOW;
  HAL_GPIO_Init(MCLR_GPIO_Port, &GPIO_InitStruct);

  /*Configure GPIO pin : Right_Button_Pin */
  GPIO_InitStruct.Pin = Right_Button_Pin;
  GPIO_InitStruct.Mode = GPIO_MODE_IT_RISING_FALLING;
  GPIO_InitStruct.Pull = GPIO_PULLUP;
  HAL_GPIO_Init(Right_Button_GPIO_Port, &GPIO_InitStruct);

  /*Configure GPIO pin : Middle_Button_Pin */
  GPIO_InitStruct.Pin = Middle_Button_Pin;
  GPIO_InitStruct.Mode = GPIO_MODE_IT_RISING_FALLING;
  GPIO_InitStruct.Pull = GPIO_PULLUP;
  HAL_GPIO_Init(Middle_Button_GPIO_Port, &GPIO_InitStruct);

  /*Configure GPIO pin : Left_Button_Pin */
  GPIO_InitStruct.Pin = Left_Button_Pin;
  GPIO_InitStruct.Mode = GPIO_MODE_IT_RISING_FALLING;
  GPIO_InitStruct.Pull = GPIO_PULLUP;
  HAL_GPIO_Init(Left_Button_GPIO_Port, &GPIO_InitStruct);

  /* EXTI interrupt init*/
  HAL_NVIC_SetPriority(EXTI9_5_IRQn, 0, 0);
  HAL_NVIC_EnableIRQ(EXTI9_5_IRQn);

  HAL_NVIC_SetPriority(EXTI15_10_IRQn, 0, 0);
  HAL_NVIC_EnableIRQ(EXTI15_10_IRQn);

}

/* USER CODE BEGIN 4 */
void HAL_GPIO_EXTI_Callback(uint16_t GPIO_Pin)
{
	int i;

	for (i = 0; i < NUM_BTN; i++)
	{
		if(btns[i].gpio == GPIO_Pin)
		{
			if(btns[i].button_state_change == 0)
				{
					btns[i].press_tick = HAL_GetTick();
					btns[i].button_state_change = 1;
				}

		}
	}

	if(GPIO_Pin == GPIO_PIN_15){

			RDY = 1;

	}

}

void HAL_UART_RxCpltCallback(UART_HandleTypeDef *huart)
{
  // if incorrect first byte

  if(rxIndex == 0 && rxBuffer[0] != '#')
  {
	  HAL_UART_Receive_IT(&huart2, rxBuffer, 1);
	  return;
  }

  // if end is reached

  if(rxBuffer[rxIndex] == '\n')
  {
	  HAL_UART_Receive_IT(&huart2, rxBuffer, 1);

	  if(rxIndex>0)
	  {
	  rxMessageLength = rxIndex + 1;
	  rxIndex = 0;
	  recievedUartMessage = 1;
	  }

	  return;

  }
  // if reading middle bytes in
  rxIndex++;
  if(rxIndex >= RX_BUF_SIZE)
  {
	rxIndex = 0;
  }

  HAL_UART_Receive_IT(&huart2, &rxBuffer[rxIndex], 1);

}

void initTrackpad(){

	hwReset();
	//getProductNum();
	while(RDY == 0){

	}
	//Reading of info flags
	 while(checkReset() == 0){
		 //soft reset
		 swReset();
	 }

	  acknowledgeReset();
	  HAL_Delay(100);
	  getProductNum();
	  HAL_Delay(100);
	  getSoftwareMajorNum();
	  HAL_Delay(100);
	  getSoftwareMinorNum();
	  HAL_Delay(100);
	  writeMM();
	  HAL_Delay(100);
	  enableTPEvent();
	  HAL_Delay(100);
	  TP_ReATI();
	  HAL_Delay(100);
	  enableGestureEvent();
	  HAL_Delay(100);
	  enableGestures();
}

/* USER CODE END 4 */

void Error_Handler(void)
{
}
